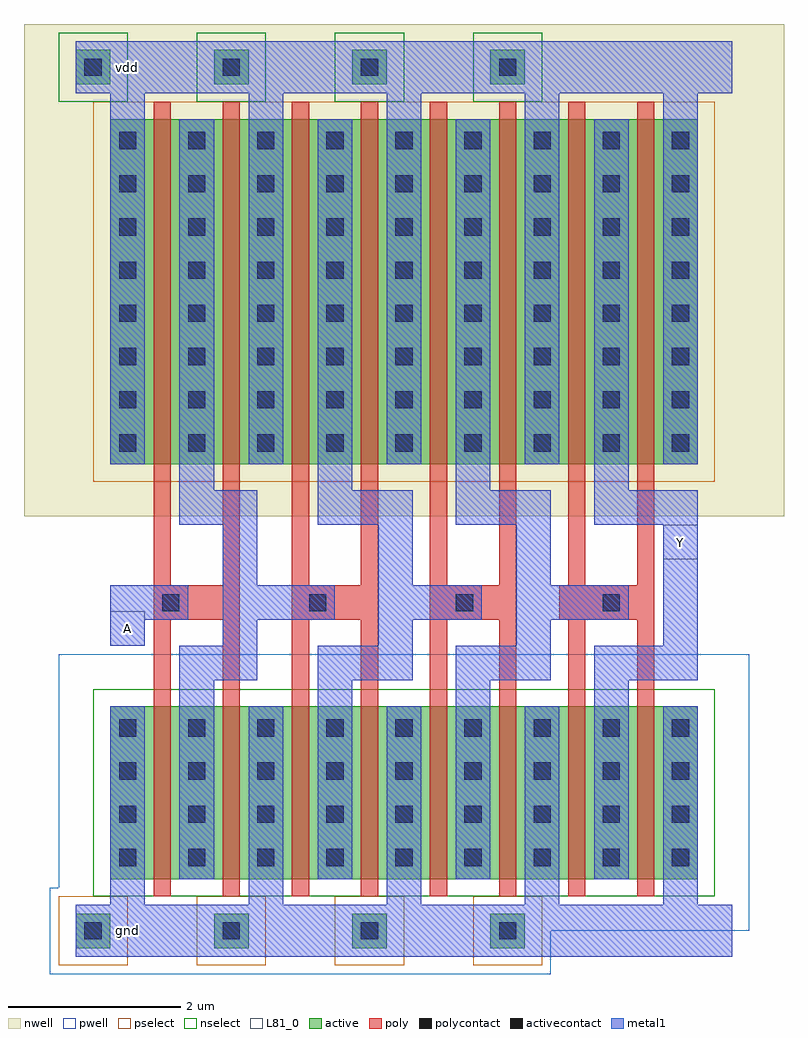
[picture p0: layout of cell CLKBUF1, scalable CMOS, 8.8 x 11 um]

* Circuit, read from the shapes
.subckt CLKBUF1 A Y gnd vdd
M1 n1 A gnd gnd nfet w=2u l=0.2u m=2
M2 n2 n1 gnd gnd nfet w=2u l=0.2u m=2
M3 n3 n2 gnd gnd nfet w=2u l=0.2u m=2
M4 Y n3 gnd gnd nfet w=2u l=0.2u m=2
M5 n1 A vdd vdd pfet w=4u l=0.2u m=2
M6 n2 n1 vdd vdd pfet w=4u l=0.2u m=2
M7 n3 n2 vdd vdd pfet w=4u l=0.2u m=2
M8 Y n3 vdd vdd pfet w=4u l=0.2u m=2
.ends

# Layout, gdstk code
import gdstk
lib = gdstk.Library(unit=1e-6, precision=1e-09)
def R(c, l, rs):  # rectangles x0, y0, x1, y1
    for r in rs: c.add(gdstk.rectangle(r[:2], r[2:], *l))
def A(c, l, x, y, w, h, nx, ny, dx, dy):  # array of equal rectangles
    R(c, l, [(x+i*dx, y+j*dy, x+i*dx+w, y+j*dy+h) for i in range(nx) for j in range(ny)])
pwell = (41, 0)
nwell = (42, 0)
active = (43, 0)
pselect = (44, 0)
nselect = (45, 0)
poly = (46, 0)
polycontact = (47, 0)
activecontact = (48, 0)
metal1 = (49, 0)
L81_0 = (81, 0)

clkbuf1 = lib.new_cell('CLKBUF1')
R(clkbuf1, pwell, [(-0.5,-0.5,5.3,0), (-0.5,0,7.6,0.5), (-0.4,0.5,7.6,3.2)])
R(clkbuf1, nwell, [(-0.8,4.8,8,10.5)])
A(clkbuf1, active, -0.2, -0.2, 0.4, 0.4, 4, 2, 1.6, 10)
R(clkbuf1, active, [(0.2,0.6,7,2.6), (0.2,5.4,7,9.4)])
A(clkbuf1, pselect, -0.4, -0.4, 0.8, 0.8, 4, 1, 1.6, 0)
R(clkbuf1, pselect, [(0,5.2,7.2,9.6)])
A(clkbuf1, nselect, -0.4, 9.6, 0.8, 0.8, 4, 1, 1.6, 0)
R(clkbuf1, nselect, [(0,0.4,7.2,2.8)])
A(clkbuf1, poly, 0.7, 0.4, 0.2, 3.2, 8, 1, 0.8, 0)
A(clkbuf1, poly, 0.7, 3.6, 1, 0.4, 3, 1, 1.6, 0)
A(clkbuf1, poly, 0.7, 4, 0.2, 5.6, 8, 1, 0.8, 0)
R(clkbuf1, poly, [(5.4,3.6,6.5,4)])
A(clkbuf1, polycontact, 0.8, 3.7, 0.2, 0.2, 4, 1, 1.7, 0)
A(clkbuf1, activecontact, -0.1, -0.1, 0.2, 0.2, 4, 2, 1.6, 10)
A(clkbuf1, activecontact, 0.3, 0.75, 0.2, 0.2, 9, 4, 0.8, 0.5)
A(clkbuf1, activecontact, 0.3, 5.55, 0.2, 0.2, 9, 8, 0.8, 0.5)
A(clkbuf1, metal1, 0.2, 0.3, 0.4, 2.3, 5, 1, 1.6, 0)
A(clkbuf1, metal1, 1, 0.6, 0.4, 2.3, 4, 1, 1.6, 0)
A(clkbuf1, metal1, 1, 5.1, 0.4, 4.3, 4, 1, 1.6, 0)
A(clkbuf1, metal1, 0.2, 5.4, 0.4, 4.3, 5, 1, 1.6, 0)
R(clkbuf1, metal1, [(-0.2,-0.3,7.4,0.3), (1,2.9,1.9,3.3), (2.6,2.9,3.7,3.3), (4.2,2.9,5.3,3.3), (5.8,2.9,7,3.3), (0.2,3.3,0.6,3.6), (1.5,3.3,1.9,3.6), (3.3,3.3,3.7,3.6), (4.9,3.3,5.3,3.6), (6.6,3.3,7,4.7), (0.2,3.6,1.1,4), (1.5,3.6,2.8,4), (3.3,3.6,4.5,4), (4.9,3.6,6.2,4), (1.5,4,1.9,4.7), (3.3,4,3.7,4.7), (4.9,4,5.3,4.7), (1,4.7,1.9,5.1), (2.6,4.7,3.7,5.1), (4.2,4.7,5.3,5.1), (5.8,4.7,7,5.1), (-0.2,9.7,7.4,10.3)])
R(clkbuf1, L81_0, [(0.2,3.3,0.6,3.7), (6.6,4.3,7,4.7)])
clkbuf1.add(gdstk.Label('A', (0.4,3.5), layer=49, texttype=0))
clkbuf1.add(gdstk.Label('vdd', (0.4,10), layer=49, texttype=0))
clkbuf1.add(gdstk.Label('gnd', (0.4,0), layer=49, texttype=0))
clkbuf1.add(gdstk.Label('Y', (6.8,4.5), layer=49, texttype=0))

lib.write_gds('CLKBUF1.gds')
